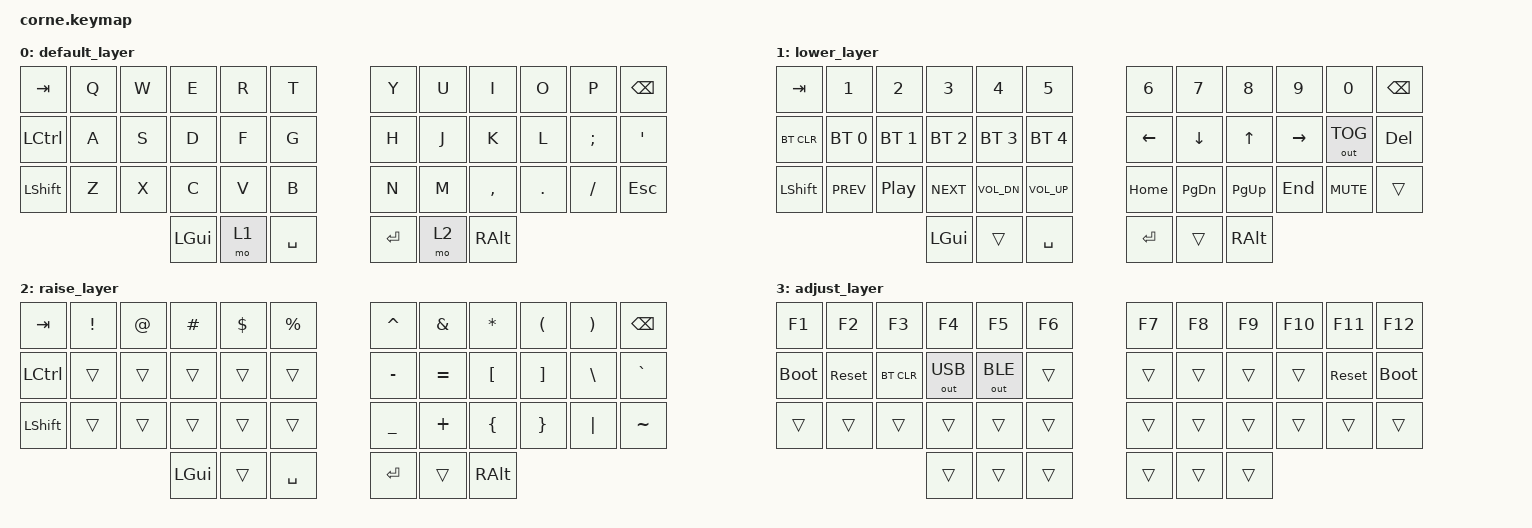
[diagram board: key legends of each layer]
/*
 * Copyright (c) 2020 The ZMK Contributors
 *
 * SPDX-License-Identifier: MIT
 */

#include <behaviors.dtsi>
#include <dt-bindings/zmk/keys.h>
#include <dt-bindings/zmk/bt.h>
#include <dt-bindings/zmk/outputs.h>

/ {
        // Giữ LOWER + RAISE cùng lúc -> vào adjust_layer (layer 3)
        conditional_layers {
                compatible = "zmk,conditional-layers";
                tri_layer {
                        if-layers = <1 2>;
                        then-layer = <3>;
                };
        };

        keymap {
                compatible = "zmk,keymap";

                default_layer {
// -----------------------------------------------------------------------------------------
// |  TAB |  Q  |  W  |  E  |  R  |  T  |   |  Y  |  U   |  I  |  O  |  P  | BSPC |
// | CTRL |  A  |  S  |  D  |  F  |  G  |   |  H  |  J   |  K  |  L  |  ;  |  '   |
// | SHFT |  Z  |  X  |  C  |  V  |  B  |   |  N  |  M   |  ,  |  .  |  /  | ESC  |
//                    | GUI | LWR | SPC |   | ENT | RSE  | ALT |
                        bindings = <
   &kp TAB   &kp Q &kp W &kp E &kp R &kp T   &kp Y &kp U  &kp I     &kp O   &kp P    &kp BSPC
   &kp LCTRL &kp A &kp S &kp D &kp F &kp G   &kp H &kp J  &kp K     &kp L   &kp SEMI &kp SQT
   &kp LSHFT &kp Z &kp X &kp C &kp V &kp B   &kp N &kp M  &kp COMMA &kp DOT &kp FSLH &kp ESC
                  &kp LGUI &mo 1 &kp SPACE   &kp RET &mo 2 &kp RALT
                        >;
                };

                lower_layer {
// -----------------------------------------------------------------------------------------
// |  TAB |  1  |  2  |  3  |  4  |  5  |   |  6  |  7  |  8  |  9  |  0  | BSPC |
// | BTCLR| BT1 | BT2 | BT3 | BT4 | BT5 |   | LFT | DWN |  UP | RGT | OUT | DEL  |
// | SHFT | PREV| PLAY| NEXT| VOL-| VOL+|   | HOME| PGDN| PGUP| END | MUTE|      |
//                    | GUI |     | SPC |   | ENT |     | ALT |
                        bindings = <
   &kp TAB    &kp N1       &kp N2       &kp N3       &kp N4       &kp N5           &kp N6    &kp N7    &kp N8    &kp N9     &kp N0       &kp BSPC
   &bt BT_CLR &bt BT_SEL 0 &bt BT_SEL 1 &bt BT_SEL 2 &bt BT_SEL 3 &bt BT_SEL 4     &kp LEFT  &kp DOWN  &kp UP    &kp RIGHT  &out OUT_TOG &kp DEL
   &kp LSHFT  &kp C_PREV   &kp C_PP     &kp C_NEXT   &kp C_VOL_DN &kp C_VOL_UP     &kp HOME  &kp PG_DN &kp PG_UP &kp END    &kp C_MUTE   &trans
                                    &kp LGUI     &trans       &kp SPACE        &kp RET   &trans    &kp RALT
                        >;
                };

                raise_layer {
// -----------------------------------------------------------------------------------------
// |  TAB |  !  |  @  |  #  |  $  |  %  |   |  ^  |  &  |  *  |  (  |  )  | BSPC |
// | CTRL |     |     |     |     |     |   |  -  |  =  |  [  |  ]  |  \  |  `   |
// | SHFT |     |     |     |     |     |   |  _  |  +  |  {  |  }  | "|" |  ~   |
//                    | GUI |     | SPC |   | ENT |     | ALT |
                        bindings = <
   &kp  TAB  &kp EXCL &kp AT &kp HASH &kp DLLR &kp PRCNT   &kp CARET &kp AMPS  &kp ASTRK &kp LPAR &kp RPAR &kp BSPC
   &kp LCTRL &trans   &trans &trans   &trans   &trans      &kp MINUS &kp EQUAL &kp LBKT  &kp RBKT &kp BSLH &kp GRAVE
   &kp LSHFT &trans   &trans &trans   &trans   &trans      &kp UNDER &kp PLUS  &kp LBRC  &kp RBRC &kp PIPE &kp TILDE
                             &kp LGUI &trans   &kp SPACE   &kp RET   &trans    &kp RALT
                        >;
                };

                adjust_layer {
// --------------------------- giữ LOWER + RAISE cùng lúc ------------------------------------
// |  F1  |  F2 |  F3 |  F4 |  F5 |  F6 |   |  F7 |  F8 |  F9 | F10 | F11 | F12  |
// | BOOT | RST |BTCLR| USB | BLE |     |   |     |     |     |     | RST | BOOT |
// |      |     |     |     |     |     |   |     |     |     |     |     |      |
//                    |     |     |     |   |     |     |     |
                        bindings = <
   &kp F1      &kp F2     &kp F3     &kp F4       &kp F5       &kp F6    &kp F7 &kp F8 &kp F9 &kp F10 &kp F11 &kp F12
   &bootloader &sys_reset &bt BT_CLR &out OUT_USB &out OUT_BLE &trans    &trans &trans &trans &trans  &sys_reset &bootloader
   &trans      &trans     &trans     &trans       &trans       &trans    &trans &trans &trans &trans  &trans  &trans
                                     &trans       &trans       &trans    &trans &trans &trans
                        >;
                };
        };
};
